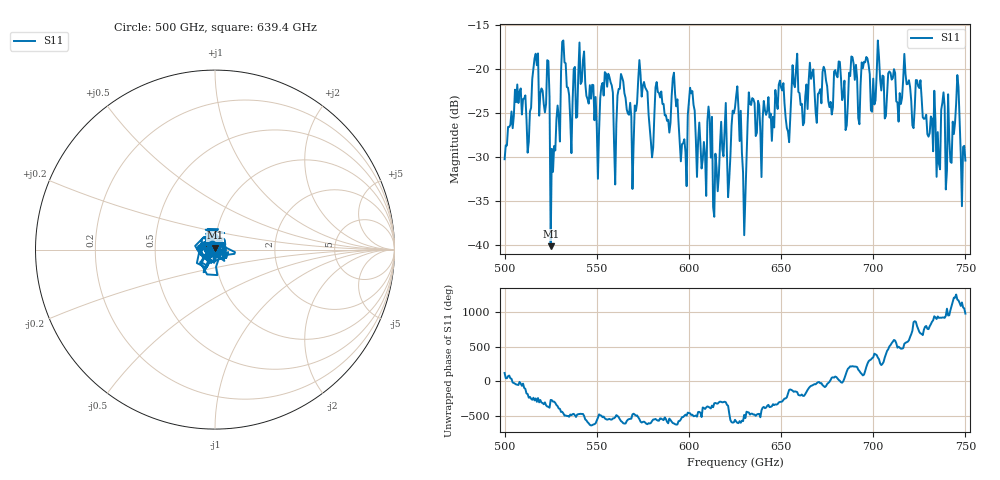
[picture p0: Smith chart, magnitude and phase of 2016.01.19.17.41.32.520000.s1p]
!Created with skrf (http://scikit-rf.org).
# GHz S RI R 50.0
!freq ReS11 ImS11
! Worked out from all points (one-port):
!   401 points, 500 GHz to 750 GHz, reference 50 ohm
!   lowest |S11| = -40.1 dB at 525 GHz (marker M1), VSWR 1.02, Z = 50 + j0.989 ohm
!   |S11| at or under -10 dB: start of sweep to end of sweep
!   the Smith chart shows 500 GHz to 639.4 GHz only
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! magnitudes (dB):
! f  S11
! 500 GHz  -30.2
! 506.9 GHz  -21.8
! 513.1 GHz  -28.2
! 516.9 GHz  -18.3
! 525 GHz  -40.1
! 526.2 GHz  -31.7
! 531.2 GHz  -16.9
! 541.9 GHz  -21.4
! 550 GHz  -26.5
! 562.5 GHz  -22.2
! 568.8 GHz  -25.4
! 573.8 GHz  -20.6
! 579.4 GHz  -28.3
! 593.8 GHz  -23.4
! 597.5 GHz  -28.0
! 601.9 GHz  -22.5
! 608.1 GHz  -28.3
! 611.2 GHz  -25.6
! 614.4 GHz  -29.6
! 625 GHz  -24.4
! 630 GHz  -38.9
! 633.8 GHz  -24.1
! 656.2 GHz  -19.6
! 687.5 GHz  -20.8
! 718.8 GHz  -21.7
! 735 GHz  -27.2
! 745.6 GHz  -20.7
! 750 GHz  -30.4
